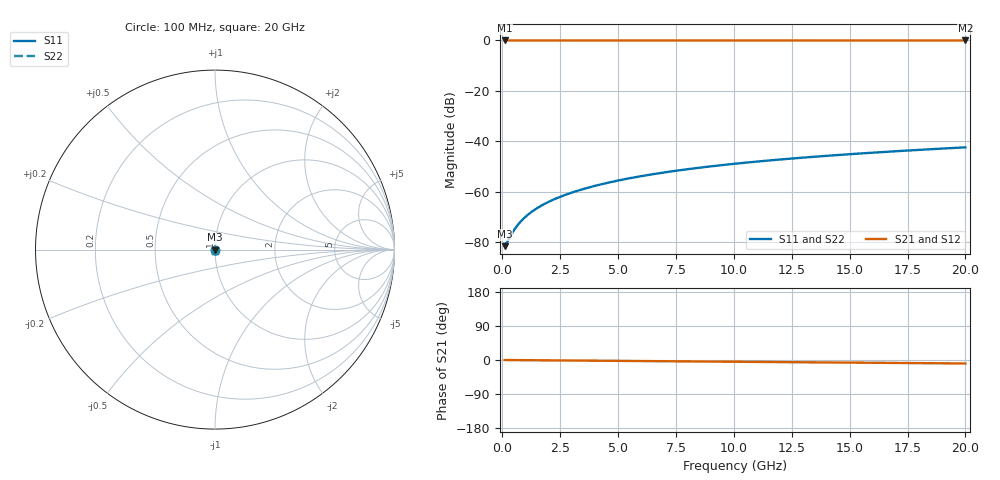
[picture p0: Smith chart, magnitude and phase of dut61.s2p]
! Touchstone file exported from HFSS 2026.1.0
!  File:  C:/ffzhzh/LocalFiles/Ansys_Project_Files/temp_train_TSV_61_1782959030_6388.aedt
!  Generated:  10:25:05 AM Jul  2, 2026
!  Design:  TSV
!  Project:  temp_train_TSV_61_1782959030_6388
! Variables:
!  h_bsmrdl = 2um
!  h_ox = 20um
!  h_rdl = 5um
!  h_sub = 91.6um
!  h_tmrdl = 5um
!  h_tsv = 91.6um
!  h_via = 3um
!  l_bsmrdl = 300um
!  l_sub = 428.48um
!  l_tmrdl = 200um
!  m_sub = 200um
!  pitch = 54.28um
!  r_tsv = 14.24um
!  s_tmrdl = 10um
!  w_bsmrdl = 18um
!  w_sub = 500um
!  w_tmrdl = 12um
!  x_tsv_center1 = 206um
!  x_tsv_center2 = 524um
!  x_tsv_center3 = 736um
!  x_tsv_center4 = 1054um
!  x_tsv_center5 = 1266um
!  x_tsv_center6 = 1584um
# GHz S MA R 50.000000
! Terminal data exported
! Port[1] = TSV1_1_T1
! Port[2] = TSV1_1_T2
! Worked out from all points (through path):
!   200 points, 100 MHz to 20 GHz, reference 50 ohm
!   highest |S21| = 0.00 dB at 100 MHz (marker M1); lowest = 0.0 dB at 20 GHz (marker M2)
!   group delay of S21, straight-line fit = 1.27 ps
!   lowest |S11| = -81.5 dB at 100 MHz (marker M3), VSWR 1.00, Z = 50 + j0.000829 ohm
!   |S11| at or under -10 dB: start of sweep to end of sweep
!   |S22| runs from -81.5 to -42.3 dB; largest |S21 - S12| = 4e-15
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0.1  8.417e-05 5.6  0.9999 -0.0  0.9999 -0.0  8.417e-05 5.6
! Gamma 0 0 0 0
! Port Impedance 50 0 50 0
0.2  9.98e-05 7.1  0.9999 -0.1  0.9999 -0.1  9.98e-05 7.1
0.4  0.0001465 -0.6  0.9999 -0.2  0.9999 -0.2  0.0001465 -0.6
0.5  0.0001735 -6.5  0.9998 -0.2  0.9998 -0.2  0.0001735 -6.5
0.6  0.0002017 -12.5  0.9998 -0.3  0.9998 -0.3  0.0002017 -12.5
0.8  0.0002603 -23.3  0.9998 -0.4  0.9998 -0.4  0.0002603 -23.3
1.1  0.0003511 -35.8  0.9997 -0.5  0.9997 -0.5  0.0003511 -35.8
1.4  0.0004441 -44.6  0.9997 -0.7  0.9997 -0.7  0.0004442 -44.6
1.8  0.0005709 -52.6  0.9996 -0.8  0.9996 -0.8  0.0005709 -52.6
2.3  0.0007334 -59.1  0.9996 -1.1  0.9996 -1.1  0.0007334 -59.1
2.9  0.0009341 -64.1  0.9996 -1.3  0.9996 -1.3  0.0009342 -64.1
3.5  0.001141 -67.6  0.9995 -1.6  0.9995 -1.6  0.001141 -67.6
4.2  0.001389 -70.5  0.9995 -1.9  0.9995 -1.9  0.001389 -70.5
5  0.00168 -73.0  0.9994 -2.3  0.9994 -2.3  0.00168 -73.0
5.9  0.002015 -75.2  0.9994 -2.7  0.9994 -2.7  0.002015 -75.2
6.8  0.002356 -77.0  0.9993 -3.1  0.9993 -3.1  0.002356 -77.0
8.3  0.002934 -79.5  0.9993 -3.8  0.9993 -3.8  0.002934 -79.5
10.1  0.003637 -82.0  0.9992 -4.6  0.9992 -4.6  0.003637 -82.0
11.7  0.004268 -83.8  0.9991 -5.4  0.9991 -5.4  0.004268 -83.8
13.4  0.004944 -85.5  0.9991 -6.1  0.9991 -6.1  0.004944 -85.5
16.7  0.006273 -88.3  0.999 -7.6  0.999 -7.6  0.006273 -88.3
20  0.007632 -90.7  0.9988 -9.2  0.9988 -9.2  0.007632 -90.7
